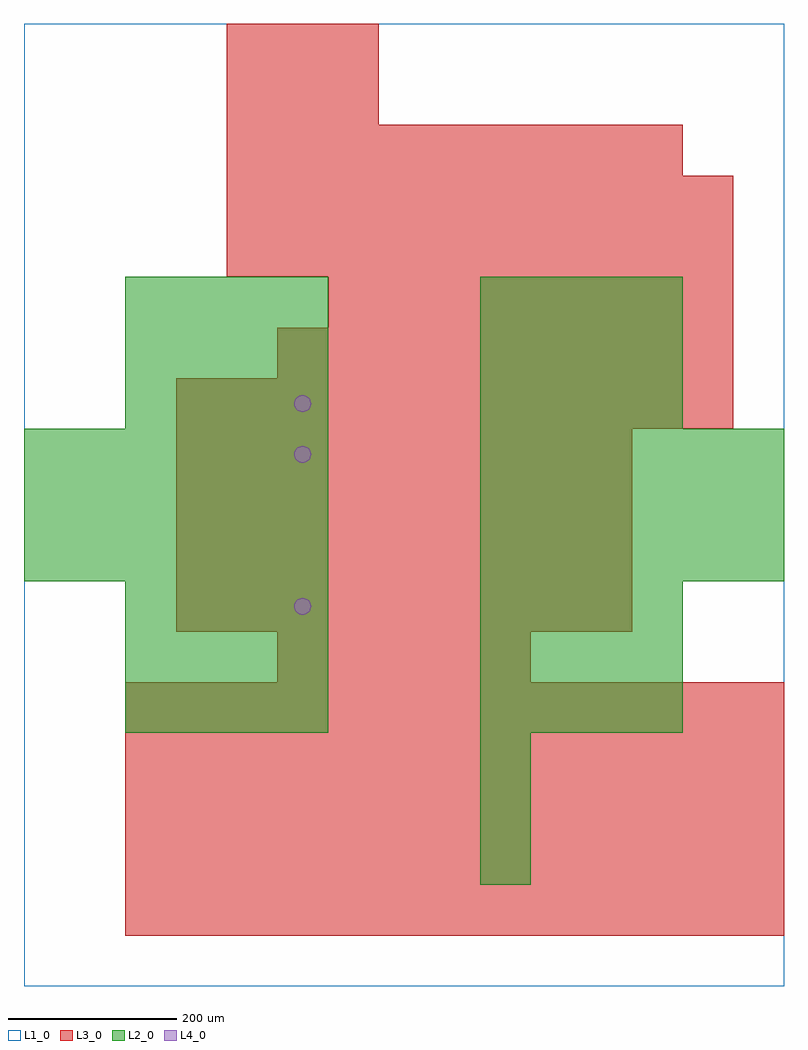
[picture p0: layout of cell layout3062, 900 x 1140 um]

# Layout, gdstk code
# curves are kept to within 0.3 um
import gdstk
lib = gdstk.Library(unit=1e-6, precision=1e-09)
def R(c, l, rs):  # rectangles x0, y0, x1, y1
    for r in rs: c.add(gdstk.rectangle(r[:2], r[2:], *l))
def A(c, l, x, y, w, h, nx, ny, dx, dy):  # array of equal rectangles
    R(c, l, [(x+i*dx, y+j*dy, x+i*dx+w, y+j*dy+h) for i in range(nx) for j in range(ny)])
def P(c, l, *ps):  # polygons
    for p in ps: c.add(gdstk.Polygon(p, *l))
L1_0 = (1, 0)
L2_0 = (2, 0)
L3_0 = (3, 0)
L4_0 = (4, 0)

layout3062 = lib.new_cell('layout3062')
R(layout3062, L1_0, [(0,0,900,1140)])
A(layout3062, L2_0, 540, 120, 60, 60, 1, 3, 0, 60)
A(layout3062, L2_0, 120, 300, 60, 60, 4, 3, 60, 60)
A(layout3062, L2_0, 540, 300, 60, 60, 4, 3, 60, 60)
A(layout3062, L2_0, 0, 480, 60, 60, 6, 3, 60, 60)
A(layout3062, L2_0, 540, 480, 60, 60, 6, 3, 60, 60)
A(layout3062, L2_0, 120, 660, 60, 60, 4, 3, 60, 60)
A(layout3062, L2_0, 540, 660, 60, 60, 4, 3, 60, 60)
A(layout3062, L3_0, 120, 60, 60, 60, 13, 5, 60, 60)
A(layout3062, L3_0, 300, 360, 60, 60, 5, 1, 60, 0)
A(layout3062, L3_0, 180, 420, 60, 60, 9, 4, 60, 60)
A(layout3062, L3_0, 180, 660, 60, 60, 11, 1, 60, 0)
A(layout3062, L3_0, 300, 720, 60, 60, 9, 1, 60, 0)
A(layout3062, L3_0, 360, 780, 60, 60, 8, 1, 60, 0)
A(layout3062, L3_0, 240, 840, 60, 60, 10, 2, 60, 60)
A(layout3062, L3_0, 240, 960, 60, 60, 9, 1, 60, 0)
A(layout3062, L3_0, 240, 1020, 60, 60, 3, 2, 60, 60)
P(layout3062, L4_0, [(340,450),(339.239,453.827),(337.071,457.071),(333.827,459.239),(330,460),(326.173,459.239),(322.929,457.071),(320.761,453.827),(320,450),(320.761,446.173),(322.929,442.929),(326.173,440.761),(330,440),(333.827,440.761),(337.071,442.929),(339.239,446.173)],
  [(340,630),(339.239,633.827),(337.071,637.071),(333.827,639.239),(330,640),(326.173,639.239),(322.929,637.071),(320.761,633.827),(320,630),(320.761,626.173),(322.929,622.929),(326.173,620.761),(330,620),(333.827,620.761),(337.071,622.929),(339.239,626.173)],
  [(340,690),(339.239,693.827),(337.071,697.071),(333.827,699.239),(330,700),(326.173,699.239),(322.929,697.071),(320.761,693.827),(320,690),(320.761,686.173),(322.929,682.929),(326.173,680.761),(330,680),(333.827,680.761),(337.071,682.929),(339.239,686.173)])

lib.write_gds('layout3062.gds')
